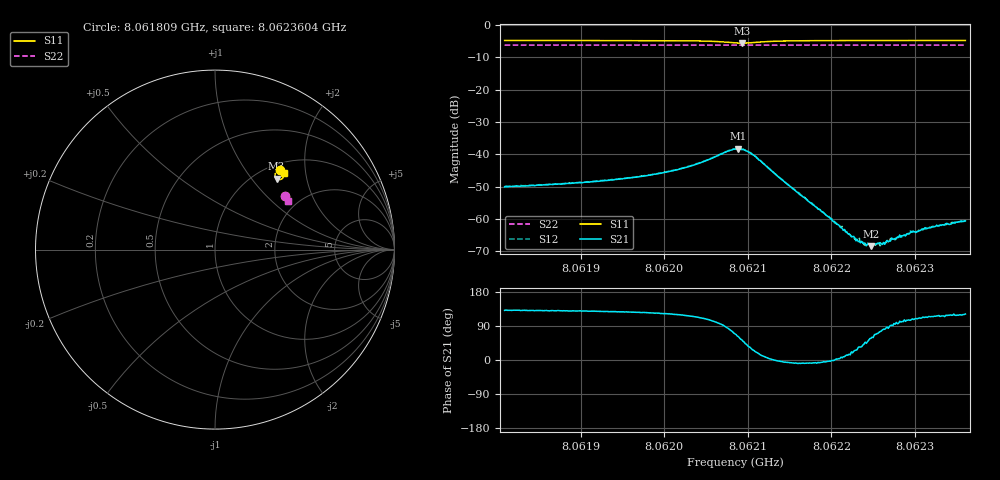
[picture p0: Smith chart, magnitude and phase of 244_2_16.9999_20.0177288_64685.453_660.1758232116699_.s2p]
#  HZ  S  RI  R  50.00
! Rohde & Schwarz Vector Network Analyzer
! Rohde-Schwarz,ZNB20-2Port,1311601062101988,3.16
! Created: UTC 3/20/2024, 11:03:00 PM
! freq[Hz]  re:S11  im:S11  re:S21  im:S21  re:S12  im:S12  re:S22  im:S22
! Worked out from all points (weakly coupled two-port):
!   401 points, 8.061809 GHz to 8.0623604 GHz, reference 50 ohm
!   highest |S21| = -38.32 dB at 8.0620888 GHz (marker M1); lowest = -68.4 dB at 8.0622473 GHz (marker M2)
!   lowest |S11| = -5.6 dB at 8.0620929 GHz (marker M3), VSWR 3.20, Z = 61.8 + j67.3 ohm
!   |S11| at or under -10 dB: nowhere
!   |S22| runs from -6.3 to -6.2 dB; largest |S21 - S12| = 0.0009
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8.06180899e9  0.3645 0.4459  -0.00205 0.00237  -0.00192 0.00252  0.3887 0.2965
8.06190134e9  0.3712 0.4397  -0.00229 0.00282  -0.00216 0.00298  0.392 0.292
8.06196337e9  0.3765 0.434  -0.00259 0.00354  -0.00239 0.00372  0.3942 0.2886
8.0619937e9  0.3793 0.4298  -0.00279 0.0042  -0.00254 0.00443  0.3952 0.2871
8.06203505e9  0.3832 0.4192  -0.00284 0.00614  -0.00252 0.00641  0.3966 0.2846
8.06208467e9  0.3575 0.3899  0.00429 0.0112  0.00492 0.011  0.3966 0.2815
8.06208881e9  0.3502 0.3915  0.00583 0.0106  0.00647 0.0102  0.3964 0.2815
8.06209294e9  0.3433 0.3953  0.0071 0.00942  0.00789 0.00901  0.3961 0.2816
8.06210673e9  0.3343 0.4172  0.00879 0.00427  0.00903 0.00361  0.3967 0.2819
8.06214532e9  0.3563 0.4393  0.00358 -0.000367  0.00361 -0.000584  0.3992 0.2809
8.06217703e9  0.3668 0.4385  0.00167 -0.000238  0.00171 -0.000377  0.4007 0.2791
8.06222941e9  0.3755 0.4349  0.000411 0.0002  0.000456 0.000192  0.4026 0.2763
8.06223768e9  0.3764 0.4343  0.00032 0.000266  0.000341 0.000271  0.4028 0.276
8.06224733e9  0.3775 0.4337  0.000204 0.000319  0.00022 0.000324  0.4031 0.2754
8.06226111e9  0.3789 0.4327  7.44e-05 0.000396  9.28e-05 0.000395  0.4035 0.2748
8.06226938e9  0.3797 0.4324  1.62e-05 0.000456  6.29e-05 0.000454  0.404 0.2744
8.06227627e9  0.3803 0.4319  -3.84e-05 0.000495  -2.13e-05 0.000472  0.4043 0.274
8.06229695e9  0.3822 0.4306  -0.000198 0.000592  -0.000162 0.000625  0.4048 0.2729
8.06230384e9  0.3826 0.4302  -0.000215 0.000602  -0.000188 0.000621  0.4051 0.2727
8.06231073e9  0.3832 0.4297  -0.000266 0.000648  -0.00024 0.000658  0.4054 0.2723
8.06232314e9  0.3842 0.429  -0.000328 0.000684  -0.000291 0.000731  0.4057 0.2715
8.06236036e9  0.3869 0.4268  -0.000487 0.000794  -0.000415 0.000823  0.4069 0.2696
